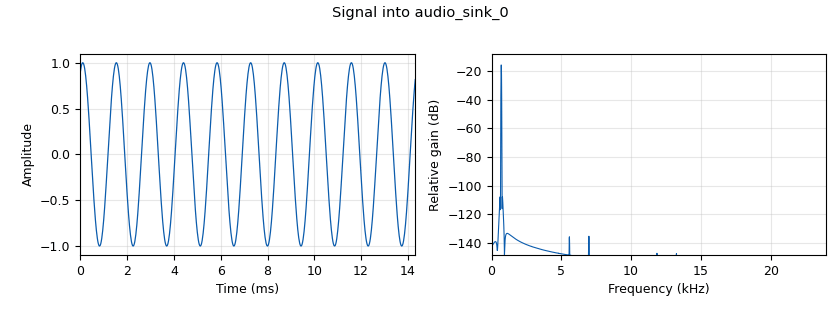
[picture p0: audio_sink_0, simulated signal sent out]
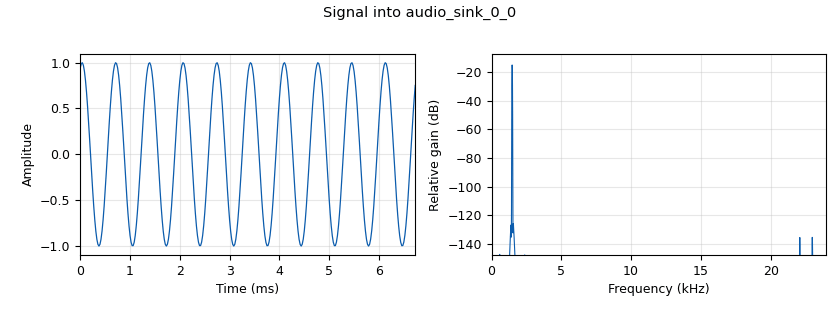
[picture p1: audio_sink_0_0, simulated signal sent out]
<?xml version='1.0' encoding='utf-8'?>
<?grc format='1' created='3.7.13'?>
<flow_graph>
<block>
<key>options</key>
<param><key>id</key><value>dial</value></param>
<param><key>generate_options</key><value>qt_gui</value></param>
</block>
<block>
<key>variable</key>
<param><key>id</key><value>samp_rate</value></param>
<param><key>value</key><value>48000</value></param>
</block>
<block>
<key>analog_sig_source_x</key>
<param><key>id</key><value>analog_sig_source_x_0</value></param>
<param><key>amp</key><value>1</value></param>
<param><key>freq</key><value>697</value></param>
<param><key>offset</key><value>0</value></param>
<param><key>type</key><value>float</value></param>
<param><key>samp_rate</key><value>samp_rate</value></param>
<param><key>waveform</key><value>analog.GR_SIN_WAVE</value></param>
</block>
<block>
<key>analog_sig_source_x</key>
<param><key>id</key><value>analog_sig_source_x_1</value></param>
<param><key>amp</key><value>1</value></param>
<param><key>freq</key><value>1477</value></param>
<param><key>offset</key><value>0</value></param>
<param><key>type</key><value>float</value></param>
<param><key>samp_rate</key><value>samp_rate</value></param>
<param><key>waveform</key><value>analog.GR_SIN_WAVE</value></param>
</block>
<block>
<key>audio_sink</key>
<param><key>id</key><value>audio_sink_0</value></param>
<param><key>samp_rate</key><value>48000</value></param>
</block>
<block>
<key>audio_sink</key>
<param><key>id</key><value>audio_sink_0_0</value></param>
<param><key>samp_rate</key><value>48000</value></param>
</block>
<connection><source_block_id>analog_sig_source_x_0</source_block_id><sink_block_id>audio_sink_0</sink_block_id><source_key>0</source_key><sink_key>0</sink_key></connection>
<connection><source_block_id>analog_sig_source_x_1</source_block_id><sink_block_id>audio_sink_0_0</sink_block_id><source_key>0</source_key><sink_key>0</sink_key></connection>
</flow_graph>
